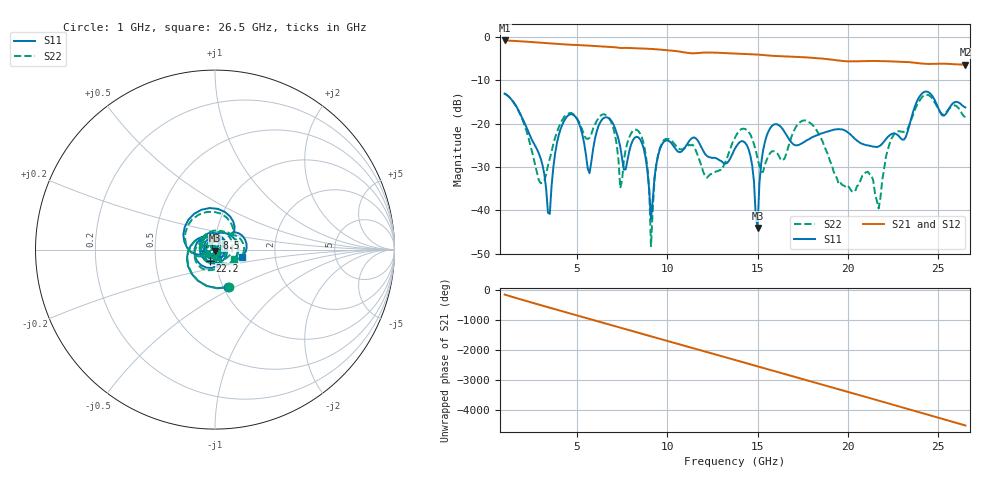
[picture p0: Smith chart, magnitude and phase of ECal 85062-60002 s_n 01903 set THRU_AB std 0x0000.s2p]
!Created with skrf (http://scikit-rf.org).
# Hz S RI R 50.0
!freq ReS11 ImS11 ReS21 ImS21 ReS12 ImS12 ReS22 ImS22
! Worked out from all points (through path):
!   256 points, 1 GHz to 26.5 GHz, reference 50 ohm
!   highest |S21| = -0.82 dB at 1 GHz (marker M1); lowest = -6.4 dB at 26.5 GHz (marker M2)
!   group delay of S21, straight-line fit = 471 ps
!   lowest |S11| = -44.1 dB at 15 GHz (marker M3), VSWR 1.01, Z = 50.1 - j0.617 ohm
!   |S11| at or under -10 dB: start of sweep to end of sweep
!   |S22| runs from -48.3 to -13.1 dB; largest |S21 - S12| = 0.0011
!   S11 on the Smith chart (normalised r, x): 1 GHz: 1.06, -0.46; 8.5 GHz: 1.01, +0.13; 22.2 GHz: 0.94, -0.12; 26.5 GHz: 1.34, -0.11
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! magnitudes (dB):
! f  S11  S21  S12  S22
! 1 GHz  -13.1  -0.8  -0.8  -13.1
! 3 GHz  -28.1  -1.3  -1.3  -33.8
! 3.5 GHz  -40.8  -1.5  -1.5  -28.1
! 4.2 GHz  -20.2  -1.7  -1.7  -19.1
! 5.3 GHz  -22.5  -1.9  -1.9  -21.4
! 5.7 GHz  -31.4  -2.0  -2.0  -23.3
! 6.8 GHz  -18.9  -2.3  -2.3  -18.9
! 7.4 GHz  -25.3  -2.5  -2.6  -34.9
! 8.5 GHz  -23.6  -2.7  -2.7  -22.3
! 8.9 GHz  -30.7  -2.7  -2.7  -29.9
! 9.1 GHz  -42.0  -2.8  -2.8  -48.3
! 9.5 GHz  -27.3  -2.9  -2.9  -27.1
! 13.8 GHz  -25.4  -3.9  -3.9  -22.8
! 14.6 GHz  -27.4  -4.0  -4.0  -22.5
! 15 GHz  -44.1  -4.1  -4.1  -28.0
! 15.7 GHz  -21.0  -4.3  -4.3  -26.7
! 18 GHz  -23.2  -4.8  -4.8  -20.1
! 21.7 GHz  -25.3  -5.6  -5.6  -39.6
! 22.2 GHz  -23.1  -5.6  -5.6  -26.1
! 22.3 GHz  -22.7  -5.6  -5.6  -24.7
! 24.2 GHz  -12.7  -6.2  -6.2  -13.5
! 26.5 GHz  -16.3  -6.4  -6.4  -18.5
